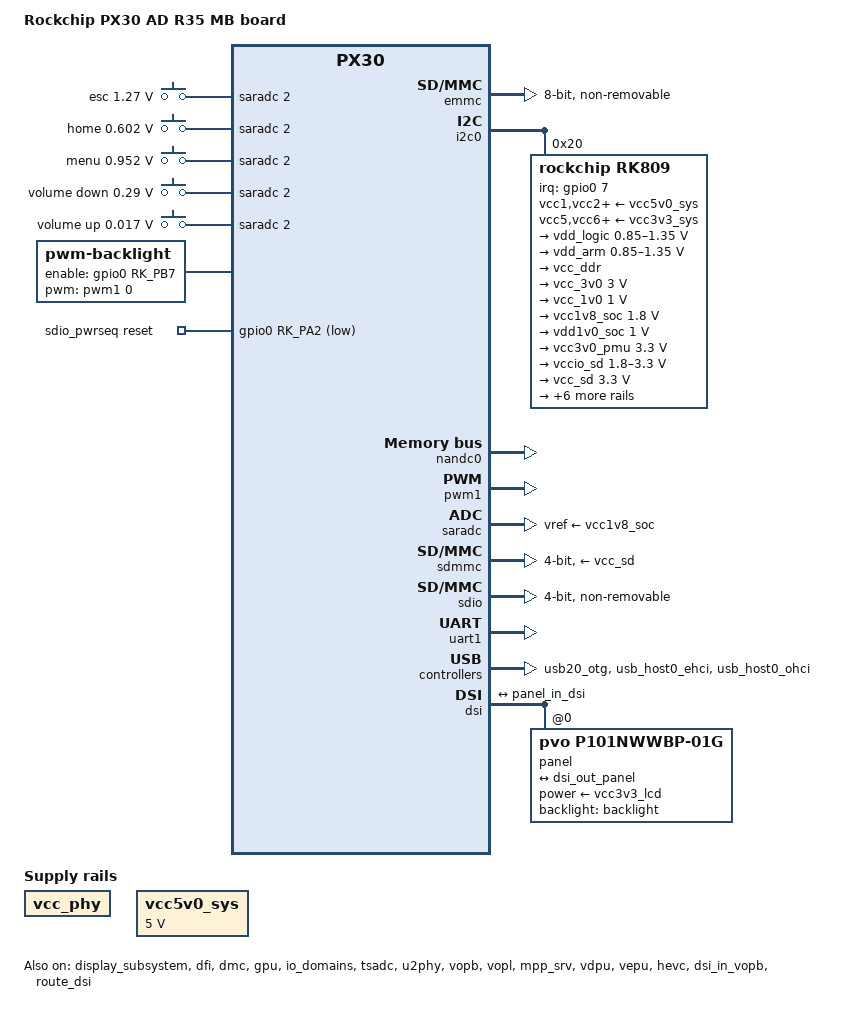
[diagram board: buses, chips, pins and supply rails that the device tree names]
// SPDX-License-Identifier: GPL-2.0
/*
 * Copyright (c) 2018 Fuzhou Rockchip Electronics Co., Ltd
 */

#include <dt-bindings/gpio/gpio.h>
#include <dt-bindings/pinctrl/rockchip.h>
#include <dt-bindings/input/input.h>
#include <dt-bindings/sensor-dev.h>
#include <dt-bindings/display/drm_mipi_dsi.h>
#include <dt-bindings/display/media-bus-format.h>
#include "px30.dtsi"
#include "px30-android.dtsi"

/ {
	model = "Rockchip PX30 AD R35 MB board";
	compatible = "rockchip,px30-ad-r35-mb", "rockchip,px30";

	adc-keys {
		compatible = "adc-keys";
		io-channels = <&saradc 2>;
		io-channel-names = "buttons";
		poll-interval = <100>;
		keyup-threshold-microvolt = <1800000>;

		esc-key {
			linux,code = <KEY_ESC>;
			label = "esc";
			press-threshold-microvolt = <1270000>;
		};

		home-key {
			linux,code = <KEY_HOME>;
			label = "home";
			press-threshold-microvolt = <602000>;
		};

		menu-key {
			linux,code = <KEY_MENU>;
			label = "menu";
			press-threshold-microvolt = <952000>;
		};

		vol-down-key {
			linux,code = <KEY_VOLUMEDOWN>;
			label = "volume down";
			press-threshold-microvolt = <290000>;
		};

		vol-up-key {
			linux,code = <KEY_VOLUMEUP>;
			label = "volume up";
			press-threshold-microvolt = <17000>;
		};
	};

	backlight: backlight {
		compatible = "pwm-backlight";
		pwms = <&pwm1 0 25000 0>;
		brightness-levels = <
			  0   1   2   3   4   5   6   7
			  8   9  10  11  12  13  14  15
			 16  17  18  19  20  21  22  23
			 24  25  26  27  28  29  30  31
			 32  33  34  35  36  37  38  39
			 40  41  42  43  44  45  46  47
			 48  49  50  51  52  53  54  55
			 56  57  58  59  60  61  62  63
			 64  65  66  67  68  69  70  71
			 72  73  74  75  76  77  78  79
			 80  81  82  83  84  85  86  87
			 88  89  90  91  92  93  94  95
			 96  97  98  99 100 101 102 103
			104 105 106 107 108 109 110 111
			112 113 114 115 116 117 118 119
			120 121 122 123 124 125 126 127
			128 129 130 131 132 133 134 135
			136 137 138 139 140 141 142 143
			144 145 146 147 148 149 150 151
			152 153 154 155 156 157 158 159
			160 161 162 163 164 165 166 167
			168 169 170 171 172 173 174 175
			176 177 178 179 180 181 182 183
			184 185 186 187 188 189 190 191
			192 193 194 195 196 197 198 199
			200 201 202 203 204 205 206 207
			208 209 210 211 212 213 214 215
			216 217 218 219 220 221 222 223
			224 225 226 227 228 229 230 231
			232 233 234 235 236 237 238 239
			240 241 242 243 244 245 246 247
			248 249 250 251 252 253 254 255>;
		default-brightness-level = <200>;
		enable-gpios = <&gpio0 RK_PB7 GPIO_ACTIVE_HIGH>;
	};

	sdio_pwrseq: sdio-pwrseq {
		compatible = "mmc-pwrseq-simple";
		pinctrl-names = "default";
		pinctrl-0 = <&wifi_enable_h>;

		/*
		 * On the module itself this is one of these (depending
		 * on the actual card populated):
		 * - SDIO_RESET_L_WL_REG_ON
		 * - PDN (power down when low)
		 */
		reset-gpios = <&gpio0 RK_PA2 GPIO_ACTIVE_LOW>;
	};

	vcc_phy: vcc-phy-regulator {
		compatible = "regulator-fixed";
		regulator-name = "vcc_phy";
		regulator-always-on;
		regulator-boot-on;
	};

	vcc5v0_sys: vccsys {
		compatible = "regulator-fixed";
		regulator-name = "vcc5v0_sys";
		regulator-always-on;
		regulator-boot-on;
		regulator-min-microvolt = <5000000>;
		regulator-max-microvolt = <5000000>;
	};
};

&cpu0 {
	cpu-supply = <&vdd_arm>;
};

&display_subsystem {
	status = "okay";
};

&dfi {
	status = "okay";
};

&dmc {
	center-supply = <&vdd_logic>;
	status = "okay";
};

&emmc {
	bus-width = <8>;
	cap-mmc-highspeed;
	mmc-hs200-1_8v;
	no-sdio;
	no-sd;
	disable-wp;
	non-removable;
	num-slots = <1>;
	status = "okay";
};

&gpu {
	mali-supply = <&vdd_logic>;
	status = "okay";
};

&i2c0 {
	status = "okay";

	rk809: pmic@20 {
		compatible = "rockchip,rk809";
		reg = <0x20>;
		interrupt-parent = <&gpio0>;
		interrupts = <7 IRQ_TYPE_LEVEL_LOW>;
		pinctrl-names = "default";
		pinctrl-0 = <&pmic_int>;
		rockchip,system-power-controller;
		wakeup-source;
		#clock-cells = <1>;
		clock-output-names = "rk808-clkout1", "rk808-clkout2";

		vcc1-supply = <&vcc5v0_sys>;
		vcc2-supply = <&vcc5v0_sys>;
		vcc3-supply = <&vcc5v0_sys>;
		vcc4-supply = <&vcc5v0_sys>;
		vcc5-supply = <&vcc3v3_sys>;
		vcc6-supply = <&vcc3v3_sys>;
		vcc7-supply = <&vcc3v3_sys>;
		vcc8-supply = <&vcc3v3_sys>;
		vcc9-supply = <&vcc5v0_sys>;

		regulators {
			vdd_logic: DCDC_REG1 {
				regulator-always-on;
				regulator-boot-on;
				regulator-min-microvolt = <850000>;
				regulator-max-microvolt = <1350000>;
				regulator-ramp-delay = <6001>;
				regulator-initial-mode = <0x1>;
				regulator-name = "vdd_logic";

				regulator-state-mem {
					regulator-on-in-suspend;
					regulator-suspend-microvolt = <950000>;
				};
			};

			vdd_arm: DCDC_REG2 {
				regulator-always-on;
				regulator-boot-on;
				regulator-min-microvolt = <850000>;
				regulator-max-microvolt = <1350000>;
				regulator-ramp-delay = <6001>;
				regulator-initial-mode = <0x1>;
				regulator-name = "vdd_arm";

				regulator-state-mem {
					regulator-off-in-suspend;
					regulator-suspend-microvolt = <950000>;
				};
			};

			vcc_ddr: DCDC_REG3 {
				regulator-always-on;
				regulator-boot-on;
				regulator-name = "vcc_ddr";
				regulator-initial-mode = <0x1>;

				regulator-state-mem {
					regulator-on-in-suspend;
				};
			};

			vcc_3v0: DCDC_REG4 {
				regulator-always-on;
				regulator-boot-on;
				regulator-min-microvolt = <3000000>;
				regulator-max-microvolt = <3000000>;
				regulator-initial-mode = <0x1>;
				regulator-name = "vcc_3v0";

				regulator-state-mem {
					regulator-off-in-suspend;
					regulator-suspend-microvolt = <3000000>;
				};
			};

			vcc_1v0: LDO_REG1 {
				regulator-always-on;
				regulator-boot-on;
				regulator-min-microvolt = <1000000>;
				regulator-max-microvolt = <1000000>;
				regulator-name = "vcc_1v0";

				regulator-state-mem {
					regulator-on-in-suspend;
					regulator-suspend-microvolt = <1000000>;
				};
			};

			vcc1v8_soc: LDO_REG2 {
				regulator-always-on;
				regulator-boot-on;
				regulator-min-microvolt = <1800000>;
				regulator-max-microvolt = <1800000>;
				regulator-name = "vcc1v8_soc";

				regulator-state-mem {
					regulator-on-in-suspend;
					regulator-suspend-microvolt = <1800000>;
				};
			};

			vdd1v0_soc: LDO_REG3 {
				regulator-always-on;
				regulator-boot-on;
				regulator-min-microvolt = <1000000>;
				regulator-max-microvolt = <1000000>;
				regulator-name = "vcc1v0_soc";

				regulator-state-mem {
					regulator-on-in-suspend;
					regulator-suspend-microvolt = <1000000>;
				};
			};

			vcc3v0_pmu: LDO_REG4 {
				regulator-always-on;
				regulator-boot-on;
				regulator-min-microvolt = <3300000>;
				regulator-max-microvolt = <3300000>;
				regulator-name = "vcc3v0_pmu";

				regulator-state-mem {
					regulator-on-in-suspend;
					regulator-suspend-microvolt = <3300000>;

				};
			};

			vccio_sd: LDO_REG5 {
				regulator-always-on;
				regulator-boot-on;
				regulator-min-microvolt = <1800000>;
				regulator-max-microvolt = <3300000>;
				regulator-name = "vccio_sd";

				regulator-state-mem {
					regulator-on-in-suspend;
					regulator-suspend-microvolt = <3300000>;
				};
			};

			vcc_sd: LDO_REG6 {
				regulator-min-microvolt = <3300000>;
				regulator-max-microvolt = <3300000>;
				regulator-name = "vcc_sd";

				regulator-state-mem {
					regulator-on-in-suspend;
					regulator-suspend-microvolt = <3300000>;

				};
			};

			vcc2v8_dvp: LDO_REG7 {
				regulator-always-on;
				regulator-boot-on;
				regulator-min-microvolt = <2800000>;
				regulator-max-microvolt = <2800000>;
				regulator-name = "vcc2v8_dvp";

				regulator-state-mem {
					regulator-off-in-suspend;
					regulator-suspend-microvolt = <2800000>;
				};
			};

			vcc1v8_dvp: LDO_REG8 {
				regulator-always-on;
				regulator-boot-on;
				regulator-min-microvolt = <1800000>;
				regulator-max-microvolt = <1800000>;
				regulator-name = "vcc1v8_dvp";

				regulator-state-mem {
					regulator-on-in-suspend;
					regulator-suspend-microvolt = <1800000>;
				};
			};

			vdd1v5_dvp: LDO_REG9 {
				regulator-always-on;
				regulator-boot-on;
				regulator-min-microvolt = <1500000>;
				regulator-max-microvolt = <1500000>;
				regulator-name = "vdd1v5_dvp";

				regulator-state-mem {
					regulator-off-in-suspend;
					regulator-suspend-microvolt = <1500000>;
				};
			};

			vcc3v3_sys: DCDC_REG5 {
				regulator-always-on;
				regulator-boot-on;
				regulator-min-microvolt = <3300000>;
				regulator-max-microvolt = <3300000>;
				regulator-name = "vcc3v3_sys";

				regulator-state-mem {
					regulator-on-in-suspend;
					regulator-suspend-microvolt = <3300000>;
				};
			};

			vcc3v3_lcd: SWITCH_REG1 {
				regulator-boot-on;
				regulator-name = "vcc3v3_lcd";
			};

			vcc5v0_host: SWITCH_REG2 {
				regulator-always-on;
				regulator-boot-on;
				regulator-name = "vcc5v0_host";
			};
		};
	};
};

&io_domains {
	vccio1-supply = <&vcc1v8_soc>;
	vccio2-supply = <&vccio_sd>;
	vccio3-supply = <&vcc_3v0>;
	vccio4-supply = <&vcc3v0_pmu>;
	vccio5-supply = <&vcc_3v0>;
	status = "okay";
};

&nandc0 {
	status = "okay";
};

&pmu_io_domains {
	pmuio1-supply = <&vcc3v0_pmu>;
	pmuio2-supply = <&vcc3v0_pmu>;
	status = "okay";
};

&pwm1 {
	status = "okay";
};

&saradc {
	vref-supply = <&vcc1v8_soc>;
	status = "okay";
};

&sdmmc {
	bus-width = <4>;
	cap-mmc-highspeed;
	cap-sd-highspeed;
	no-sdio;
	no-mmc;
	card-detect-delay = <800>;
	ignore-pm-notify;
	sd-uhs-sdr12;
	sd-uhs-sdr25;
	sd-uhs-sdr50;
	sd-uhs-sdr104;
	vqmmc-supply = <&vccio_sd>;
	vmmc-supply = <&vcc_sd>;
	status = "okay";
};

&sdio {
	bus-width = <4>;
	cap-sd-highspeed;
	no-sd;
	no-mmc;
	ignore-pm-notify;
	keep-power-in-suspend;
	non-removable;
	mmc-pwrseq = <&sdio_pwrseq>;
	sd-uhs-sdr104;
	status = "okay";
};

&tsadc {
	pinctrl-names = "init", "default";
	pinctrl-0 = <&tsadc_otp_gpio>;
	pinctrl-1 = <&tsadc_otp_out>;
	status = "okay";
};

&uart1 {
	pinctrl-names = "default";
	pinctrl-0 = <&uart1_xfer &uart1_cts>;
	status = "okay";
};

&u2phy {
	status = "okay";

	u2phy_host: host-port {
		status = "okay";
	};

	u2phy_otg: otg-port {
		status = "okay";
	};
};

&usb20_otg {
	status = "okay";
};

&usb_host0_ehci {
	status = "okay";
};

&usb_host0_ohci {
	status = "okay";
};

&vopb {
	status = "okay";
};

&vopb_mmu {
	status = "okay";
};

&vopl {
	status = "okay";
};

&vopl_mmu {
	status = "okay";
};

&mpp_srv {
	status = "okay";
};

&vdpu {
	status = "okay";
};

&vepu {
	status = "okay";
};

&vpu_mmu {
	status = "okay";
};

&hevc {
	status = "okay";
};

&hevc_mmu {
	status = "okay";
};

&dsi {
	status = "okay";

	panel@0 {
		compatible = "pvo,p101nwwbp-01g", "simple-panel-dsi";
		reg = <0>;
		power-supply = <&vcc3v3_lcd>;
		backlight = <&backlight>;
		prepare-delay-ms = <20>;
		reset-delay-ms = <20>;
		init-delay-ms = <20>;
		enable-delay-ms = <20>;
		disable-delay-ms = <20>;
		unprepare-delay-ms = <20>;

		width-mm = <135>;
		height-mm = <216>;

		dsi,flags = <(MIPI_DSI_MODE_VIDEO | MIPI_DSI_MODE_VIDEO_BURST |
			      MIPI_DSI_MODE_LPM | MIPI_DSI_MODE_EOT_PACKET)>;
		dsi,format = <MIPI_DSI_FMT_RGB888>;
		dsi,lanes = <4>;

		panel-init-sequence = [
			15 00 02 E0 00
			15 00 02 E1 93
			15 00 02 E2 65
			15 00 02 E3 F8
			15 00 02 80 03
			15 00 02 E0 04
			15 00 02 2B 2B
			15 00 02 2D 03
			15 00 02 2E 44
			15 00 02 E0 01
			15 00 02 00 00
			15 00 02 01 6D
			15 00 02 0C 74
			15 00 02 17 00
			15 00 02 18 A7
			15 00 02 19 01
			15 00 02 1A 00
			15 00 02 1B A7
			15 00 02 1C 01
			15 00 02 1F 6A
			15 00 02 20 23
			15 00 02 21 23
			15 00 02 22 0E
			15 00 02 35 28
			15 00 02 37 59
			15 00 02 38 05
			15 00 02 39 04
			15 00 02 3A 08
			15 00 02 3B 08
			15 00 02 3C 7C
			15 00 02 3D FF
			15 00 02 3E FF
			15 00 02 3F FF
			15 00 02 40 06
			15 00 02 41 A0
			15 00 02 43 08
			15 00 02 44 0B
			15 00 02 45 88
			15 00 02 4B 04
			15 00 02 55 01
			15 00 02 56 01
			15 00 02 57 8D
			15 00 02 58 0A
			15 00 02 59 0A
			15 00 02 5A 28
			15 00 02 5B 1E
			15 00 02 5C 16
			15 00 02 5D 76
			15 00 02 5E 58
			15 00 02 5F 46
			15 00 02 60 39
			15 00 02 61 37
			15 00 02 62 2A
			15 00 02 63 2F
			15 00 02 64 18
			15 00 02 65 39
			15 00 02 66 38
			15 00 02 67 3A
			15 00 02 68 5A
			15 00 02 69 46
			15 00 02 6A 4C
			15 00 02 6B 3F
			15 00 02 6C 3D
			15 00 02 6D 2F
			15 00 02 6E 1E
			15 00 02 6F 00
			15 00 02 70 76
			15 00 02 71 58
			15 00 02 72 46
			15 00 02 73 39
			15 00 02 74 33
			15 00 02 75 22
			15 00 02 76 27
			15 00 02 77 14
			15 00 02 78 29
			15 00 02 79 2A
			15 00 02 7A 28
			15 00 02 7B 46
			15 00 02 7C 38
			15 00 02 7D 3E
			15 00 02 7E 31
			15 00 02 7F 29
			15 00 02 80 1B
			15 00 02 81 0A
			15 00 02 82 00
			15 00 02 E0 02
			15 00 02 00 44
			15 00 02 01 44
			15 00 02 02 45
			15 00 02 03 45
			15 00 02 04 46
			15 00 02 05 46
			15 00 02 06 47
			15 00 02 07 47
			15 00 02 08 1D
			15 00 02 09 1D
			15 00 02 0A 1D
			15 00 02 0B 1D
			15 00 02 0C 1D
			15 00 02 0D 1D
			15 00 02 0E 1D
			15 00 02 0F 57
			15 00 02 10 57
			15 00 02 11 58
			15 00 02 12 58
			15 00 02 13 40
			15 00 02 14 55
			15 00 02 15 55
			15 00 02 16 44
			15 00 02 17 44
			15 00 02 18 45
			15 00 02 19 45
			15 00 02 1A 46
			15 00 02 1B 46
			15 00 02 1C 47
			15 00 02 1D 47
			15 00 02 1E 1D
			15 00 02 1F 1D
			15 00 02 20 1D
			15 00 02 21 1D
			15 00 02 22 1D
			15 00 02 23 1D
			15 00 02 24 1D
			15 00 02 25 57
			15 00 02 26 57
			15 00 02 27 58
			15 00 02 28 58
			15 00 02 29 40
			15 00 02 2A 55
			15 00 02 2B 55
			15 00 02 58 40
			15 00 02 59 00
			15 00 02 5A 00
			15 00 02 5B 00
			15 00 02 5C 0A
			15 00 02 5D 10
			15 00 02 5E 01
			15 00 02 5F 02
			15 00 02 60 00
			15 00 02 61 01
			15 00 02 62 02
			15 00 02 63 0B
			15 00 02 64 6A
			15 00 02 65 00
			15 00 02 66 00
			15 00 02 67 31
			15 00 02 68 0B
			15 00 02 69 1E
			15 00 02 6A 6A
			15 00 02 6B 04
			15 00 02 6C 00
			15 00 02 6D 04
			15 00 02 6E 00
			15 00 02 6F 88
			15 00 02 70 00
			15 00 02 71 00
			15 00 02 72 06
			15 00 02 73 7B
			15 00 02 74 00
			15 00 02 75 F8
			15 00 02 76 00
			15 00 02 77 0D
			15 00 02 78 14
			15 00 02 79 00
			15 00 02 7A 00
			15 00 02 7B 00
			15 00 02 7C 00
			15 00 02 7D 03
			15 00 02 7E 7B
			15 00 02 E0 00
			15 00 02 E6 02
			15 00 02 E7 06
			15 80 01 11
			15 16 01 29
		];

		panel-exit-sequence = [
			05 00 01 28
			05 00 01 10
		];

		display-timings {
			native-mode = <&timing0>;

			timing0: timing0 {
				clock-frequency = <68500000>;
				hactive = <800>;
				hfront-porch = <16>;
				hsync-len = <16>;
				hback-porch = <48>;
				vactive = <1280>;
				vfront-porch = <8>;
				vsync-len = <4>;
				vback-porch = <4>;
				hsync-active = <0>;
				vsync-active = <0>;
				de-active = <0>;
				pixelclk-active = <0>;
			};
		};

		ports {
			#address-cells = <1>;
			#size-cells = <0>;

			port@0 {
				reg = <0>;
				panel_in_dsi: endpoint {
					remote-endpoint = <&dsi_out_panel>;
				};
			};
		};
	};

	ports {
		#address-cells = <1>;
		#size-cells = <0>;

		port@1 {
			reg = <1>;
			dsi_out_panel: endpoint {
				remote-endpoint = <&panel_in_dsi>;
			};
		};
	};
};

&dsi_in_vopl {
	status = "disabled";
};

&dsi_in_vopb {
	status = "okay";
};

&route_dsi {
	connect = <&vopb_out_dsi>;
	status = "okay";
};

&pinctrl {
	pmic {
		pmic_int: pmic_int {
			rockchip,pins =
				<0 RK_PA7 RK_FUNC_GPIO &pcfg_pull_up>;
		};
	};

	sdio-pwrseq {
		wifi_enable_h: wifi-enable-h {
			rockchip,pins = <0 RK_PA2 RK_FUNC_GPIO &pcfg_pull_none>;
		};
	};
};

&firmware_android {
	compatible = "android,firmware";

	fstab {
		compatible = "android,fstab";

		system {
			compatible = "android,system";
			dev = "/dev/block/by-name/system";
			type = "ext4";
			mnt_flags = "ro,barrier=1,inode_readahead_blks=8";
			fsmgr_flags = "wait";
		};

		vendor {
			compatible = "android,vendor";
			dev = "/dev/block/by-name/vendor";
			type = "ext4";
			mnt_flags = "ro,barrier=1,inode_readahead_blks=8";
			fsmgr_flags = "wait";
		};
	};
};
